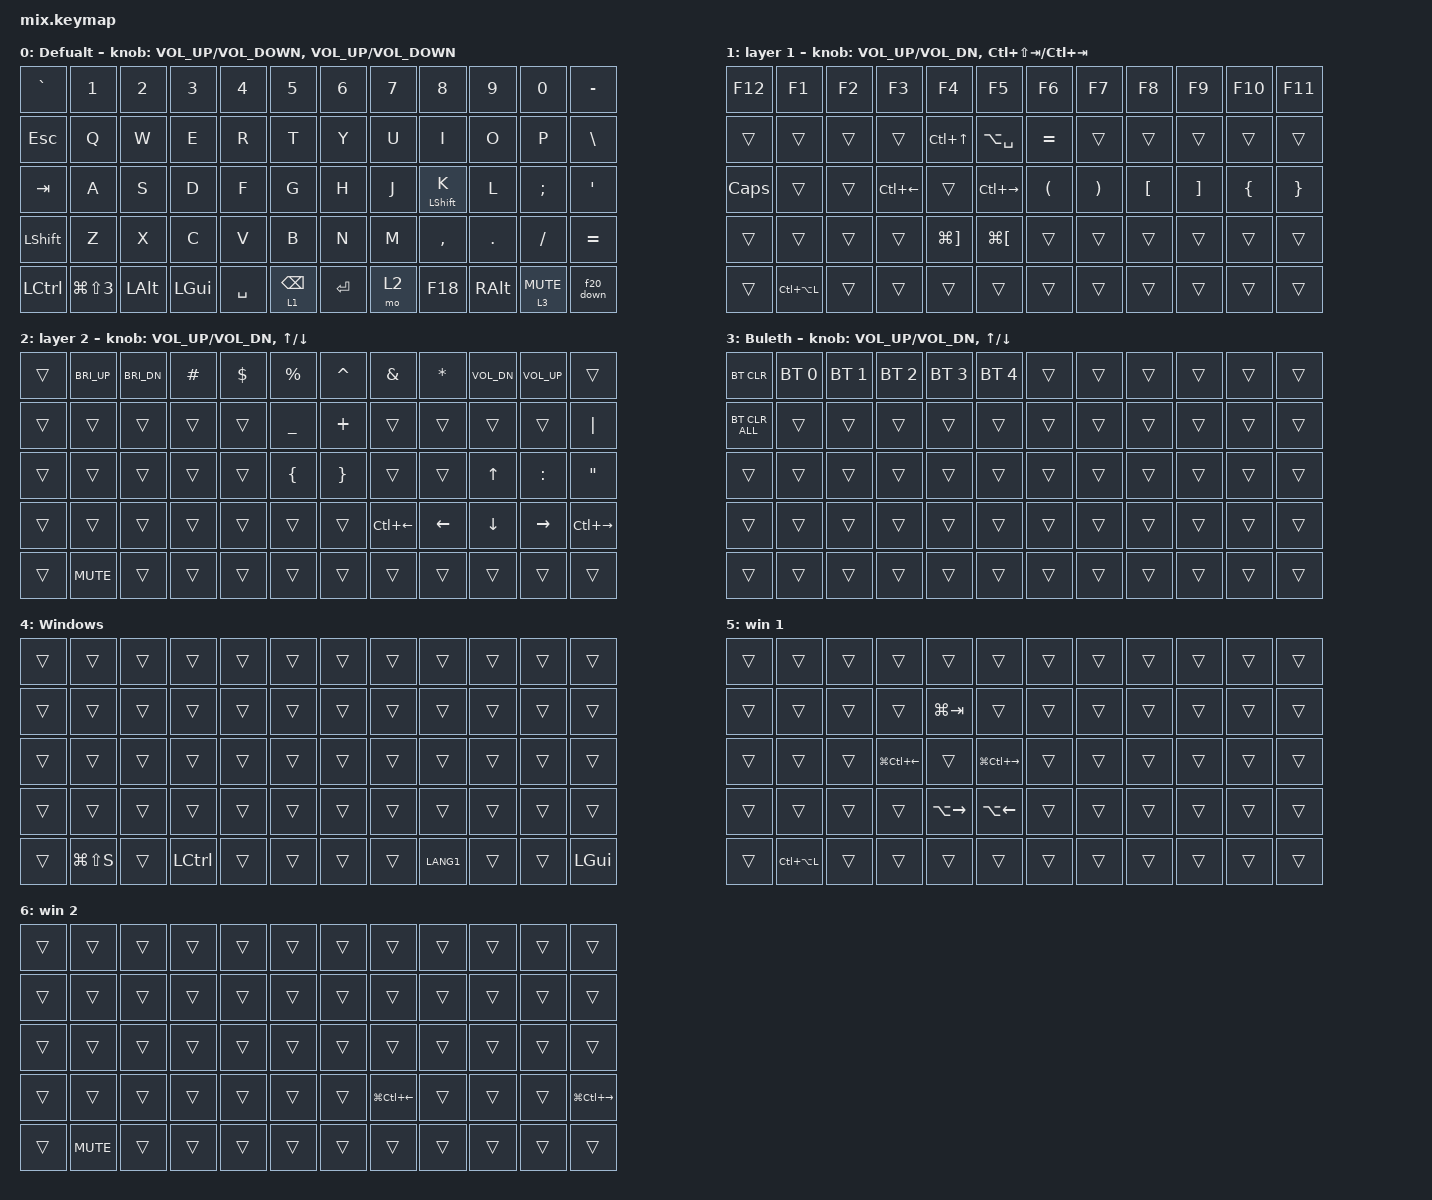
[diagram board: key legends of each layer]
/*
 * Copyright (c) 2020 The ZMK Contributors
 *
 * SPDX-License-Identifier: MIT
 */

#include <behaviors.dtsi>
#include <dt-bindings/zmk/bt.h>
#include <dt-bindings/zmk/keys.h>
#include <dt-bindings/zmk/pointing.h>

#define ZMK_POINTING_DEFAULT_SCRL_VAL 40

/ {
    combos {
        compatible = "zmk,combos";

        boot {
            bindings = <&bootloader>;
            key-positions = <0 11 54 53>;
            timeout-ms = <250>;
        };

        combo_bspc {
            bindings = <&kp BSPC>;
            key-positions = <31 55>;
            timeout-ms = <50>;
        };
    };

    conditional_layers {
        compatible = "zmk,conditional-layers";

        win_l1 {
            if-layers = <1 4>;
            then-layer = <5>;
        };

        win_l2 {
            if-layers = <2 4>;
            then-layer = <6>;
        };
    };

    macros {
        f20_down: f20_down {
            compatible = "zmk,behavior-macro";
            label = "F20_DOWN";
            #binding-cells = <0>;

            bindings
                = <&macro_press &kp F20>
                , <&macro_tap &kp DOWN_ARROW>
                , <&macro_release &kp F20>;
        };
    };

    behaviors {
        encoder_sc: encoder_sc {
            compatible = "zmk,behavior-sensor-rotate-var";
            label = "ENCODER_SC";
            #sensor-binding-cells = <2>;
            bindings = <&msc>, <&msc>;

            tap-ms = <40>;
        };

        kshift: kshift {
            compatible = "zmk,behavior-hold-tap";
            label = "K_SHIFT";
            #binding-cells = <2>;
            bindings = <&kp>, <&kp>;

            tapping-term-ms = <155>;
            quick-tap-ms = <175>;
            require-prior-idle-ms = <150>;
            flavor = "balanced";
        };

        lt_bspc: lt_bspc {
            compatible = "zmk,behavior-hold-tap";
            label = "LT_BSPC";
            #binding-cells = <2>;
            bindings = <&mo>, <&kp>;

            tapping-term-ms = <200>;
            quick-tap-ms = <200>;
            flavor = "balanced";
        };
    };

    keymap {
        compatible = "zmk,keymap";

        LAYER0 {
            display-name = "Defualt";
            bindings = <
&kp GRAVE   &kp N1          &kp N2        &kp N3    &kp NUMBER_4  &kp N5           &kp NUMBER_6  &kp N7  &kp N8           &kp N9         &kp N0         &kp MINUS
&kp ESCAPE  &kp Q           &kp W         &kp E     &kp R         &kp T            &kp Y         &kp U   &kp I            &kp O          &kp P          &kp BACKSLASH
&kp TAB     &kp A           &kp S         &kp D     &kp F         &kp G            &kp H         &kp J   &kshift LSHFT K  &kp L          &kp SEMICOLON  &kp SQT
&kp LSHFT   &kp Z           &kp X         &kp C     &kp V         &kp B            &kp N         &kp M   &kp COMMA        &kp DOT        &kp FSLH       &kp EQUAL
&kp LCTRL   &kp LG(LS(N3))  &kp LEFT_ALT  &kp LGUI  &kp SPACE     &lt_bspc 1 BSPC  &kp ENTER     &mo 2   &kp F18          &kp RIGHT_ALT  &lt 3 C_MUTE   &f20_down
            >;

            sensor-bindings =
                <&inc_dec_kp C_VOLUME_UP C_VOLUME_DOWN>,
                <&inc_dec_kp C_VOLUME_UP C_VOLUME_DOWN>;
        };

        LAYER1 {
            display-name = "layer 1";
            bindings = <
&kp F12   &kp F1         &kp F2  &kp F3              &kp F4            &kp F5               &kp F6                &kp F7                 &kp F8            &kp F9             &kp F10         &kp F11
&trans    &trans         &trans  &trans              &kp LC(UP_ARROW)  &kp LA(SPACE)        &kp EQUAL             &trans                 &trans            &trans             &trans          &trans
&kp CAPS  &trans         &trans  &kp LC(LEFT_ARROW)  &trans            &kp LC(RIGHT_ARROW)  &kp LEFT_PARENTHESIS  &kp RIGHT_PARENTHESIS  &kp LEFT_BRACKET  &kp RIGHT_BRACKET  &kp LEFT_BRACE  &kp RIGHT_BRACE
&trans    &trans         &trans  &trans              &kp LG(RBKT)      &kp LG(LBKT)         &trans                &trans                 &trans            &trans             &trans          &trans
&trans    &kp LC(LA(L))  &trans  &trans              &trans            &trans               &trans                &trans                 &trans            &trans             &trans          &trans
            >;

            sensor-bindings = <&inc_dec_kp C_VOL_UP C_VOL_DN &inc_dec_kp LC(LS(TAB)) LC(TAB)>;
        };

        LAYER2 {
            display-name = "layer 2";
            bindings = <
&trans  &kp C_BRI_UP  &kp C_BRI_DN  &kp HASH  &kp DOLLAR  &kp PERCENT     &kp CARET        &kp AMPERSAND       &kp ASTERISK    &kp C_VOL_DN    &kp C_VOL_UP     &trans
&trans  &trans        &trans        &trans    &trans      &kp UNDERSCORE  &kp PLUS         &trans              &trans          &trans          &trans           &kp PIPE
&trans  &trans        &trans        &trans    &trans      &kp LEFT_BRACE  &kp RIGHT_BRACE  &trans              &trans          &kp UP_ARROW    &kp COLON        &kp DOUBLE_QUOTES
&trans  &trans        &trans        &trans    &trans      &trans          &trans           &kp LC(LEFT_ARROW)  &kp LEFT_ARROW  &kp DOWN_ARROW  &kp RIGHT_ARROW  &kp LC(RIGHT_ARROW)
&trans  &kp C_MUTE    &trans        &trans    &trans      &trans          &trans           &trans              &trans          &trans          &trans           &trans
            >;

            sensor-bindings =
                <&inc_dec_kp C_VOL_UP C_VOL_DN>,
                <&inc_dec_kp UP_ARROW DOWN>;
        };

        LAYER3 {
            display-name = "Buleth";
            bindings = <
&bt BT_CLR      &bt BT_SEL 0  &bt BT_SEL 1  &bt BT_SEL 2  &bt BT_SEL 3  &bt BT_SEL 4  &trans  &trans  &trans  &trans  &trans  &trans
&bt BT_CLR_ALL  &trans        &trans        &trans        &trans        &trans        &trans  &trans  &trans  &trans  &trans  &trans
&trans          &trans        &trans        &trans        &trans        &trans        &trans  &trans  &trans  &trans  &trans  &trans
&trans          &trans        &trans        &trans        &trans        &trans        &trans  &trans  &trans  &trans  &trans  &trans
&trans          &trans        &trans        &trans        &trans        &trans        &trans  &trans  &trans  &trans  &trans  &trans
            >;

            sensor-bindings =
                <&inc_dec_kp C_VOL_UP C_VOL_DN>,
                <&inc_dec_kp UP_ARROW DOWN_ARROW>;
        };

        // Windows overlay: switched on while BLE profile 1 is active (src/win_profile_layer.c).
        // Must stay layer 4 to match CONFIG_MIX_WIN_LAYER.
        WIN {
            display-name = "Windows";
            bindings = <
&trans  &trans         &trans  &trans     &trans  &trans  &trans  &trans  &trans     &trans  &trans  &trans
&trans  &trans         &trans  &trans     &trans  &trans  &trans  &trans  &trans     &trans  &trans  &trans
&trans  &trans         &trans  &trans     &trans  &trans  &trans  &trans  &trans     &trans  &trans  &trans
&trans  &trans         &trans  &trans     &trans  &trans  &trans  &trans  &trans     &trans  &trans  &trans
&trans  &kp LG(LS(S))  &trans  &kp LCTRL  &trans  &trans  &trans  &trans  &kp LANG1  &trans  &trans  &kp LGUI
            >;
        };

        // LAYER1 + WIN
        WIN_L1 {
            display-name = "win 1";
            bindings = <
&trans  &trans         &trans  &trans                  &trans               &trans                   &trans  &trans  &trans  &trans  &trans  &trans
&trans  &trans         &trans  &trans                  &kp LG(TAB)          &trans                   &trans  &trans  &trans  &trans  &trans  &trans
&trans  &trans         &trans  &kp LG(LC(LEFT_ARROW))  &trans               &kp LG(LC(RIGHT_ARROW))  &trans  &trans  &trans  &trans  &trans  &trans
&trans  &trans         &trans  &trans                  &kp LA(RIGHT_ARROW)  &kp LA(LEFT_ARROW)       &trans  &trans  &trans  &trans  &trans  &trans
&trans  &kp LC(LA(L))  &trans  &trans                  &trans               &trans                   &trans  &trans  &trans  &trans  &trans  &trans
            >;
        };

        // LAYER2 + WIN; 49 restores mute, which WIN would otherwise cover
        WIN_L2 {
            display-name = "win 2";
            bindings = <
&trans  &trans      &trans  &trans  &trans  &trans  &trans  &trans                  &trans  &trans  &trans  &trans
&trans  &trans      &trans  &trans  &trans  &trans  &trans  &trans                  &trans  &trans  &trans  &trans
&trans  &trans      &trans  &trans  &trans  &trans  &trans  &trans                  &trans  &trans  &trans  &trans
&trans  &trans      &trans  &trans  &trans  &trans  &trans  &kp LG(LC(LEFT_ARROW))  &trans  &trans  &trans  &kp LG(LC(RIGHT_ARROW))
&trans  &kp C_MUTE  &trans  &trans  &trans  &trans  &trans  &trans                  &trans  &trans  &trans  &trans
            >;
        };
    };
};
